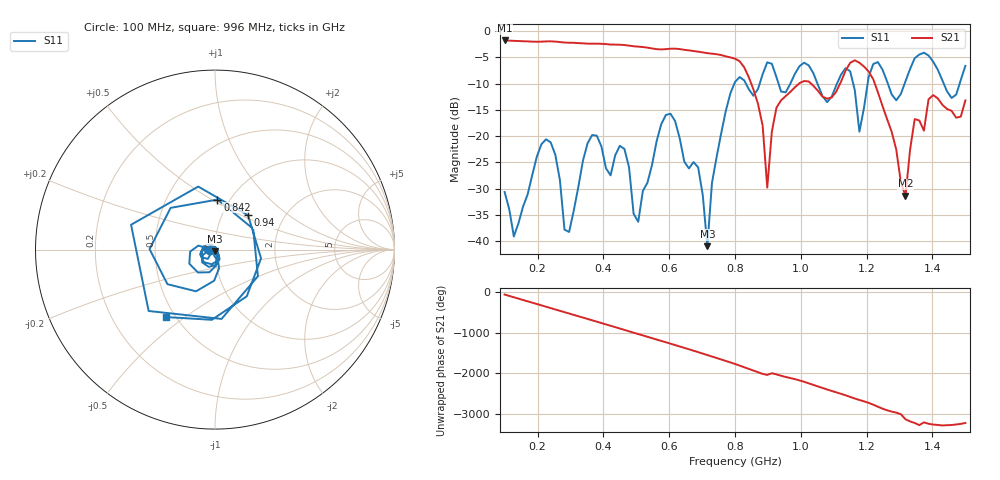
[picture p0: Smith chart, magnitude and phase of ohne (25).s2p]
! NanoVNA-App
! Date: 2025-09-25 14:21:00
! Start: 100MHz Stop: 1,5GHz Points: 101
! S-Parameter data: F S11 S21 S12 S22
# Hz S RI R 50
!  Frequency  S11_Real  S11_Imag  S21_Real  S21_Imag  S12_Real  S12_Imag  S22_Real  S22_Imag
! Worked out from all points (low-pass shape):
!   101 points, 100 MHz to 1.5 GHz, reference 50 ohm
!   highest |S21| = -1.79 dB at 100 MHz (marker M1); lowest = -31.4 dB at 1.318 GHz (marker M2)
!   |S21| within 3 dB of the highest: start of sweep to 770.6 MHz
!   lowest |S11| = -41.0 dB at 716 MHz (marker M3), VSWR 1.02, Z = 49.9 - j0.888 ohm
!   |S11| at or under -10 dB: start of sweep to 798 MHz; 833.1 MHz to 875.1 MHz (42.03 MHz wide, 4.92 % of centre); 1.05 GHz to 1.11 GHz (59.56 MHz wide, 5.51 % of centre) (the widest 3 of 7)
!   S12 and S22 are empty: the file has one direction only
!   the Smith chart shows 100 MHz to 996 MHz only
!   S11 on the Smith chart (normalised r, x): 100 MHz: 0.94, -0.01; 842 MHz: 0.88, +0.53; 940 MHz: 1.32, +0.55; 996 MHz: 0.45, -0.43
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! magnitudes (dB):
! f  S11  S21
! 100 MHz  -30.6  -1.8
! 128 MHz  -39.1  -1.9
! 226 MHz  -20.6  -2.0
! 296 MHz  -38.2  -2.2
! 338 MHz  -24.7  -2.3
! 464 MHz  -22.4  -2.7
! 506 MHz  -36.3  -3.0
! 576 MHz  -17.7  -3.5
! 688 MHz  -25.9  -3.9
! 716 MHz  -41.0  -4.2
! 800 MHz  -9.7  -5.3
! 842 MHz  -11.1  -8.8
! 898 MHz  -6.0  -29.8
! 940 MHz  -11.5  -13.2
! 996 MHz  -6.7  -9.9
! 1.038 GHz  -8.0  -10.4
! 1.178 GHz  -19.2  -6.0
! 1.22 GHz  -6.3  -9.2
! 1.276 GHz  -12.1  -19.2
! 1.318 GHz  -9.6  -31.4
! 1.346 GHz  -5.2  -16.8
! 1.5 GHz  -6.6  -13.2
